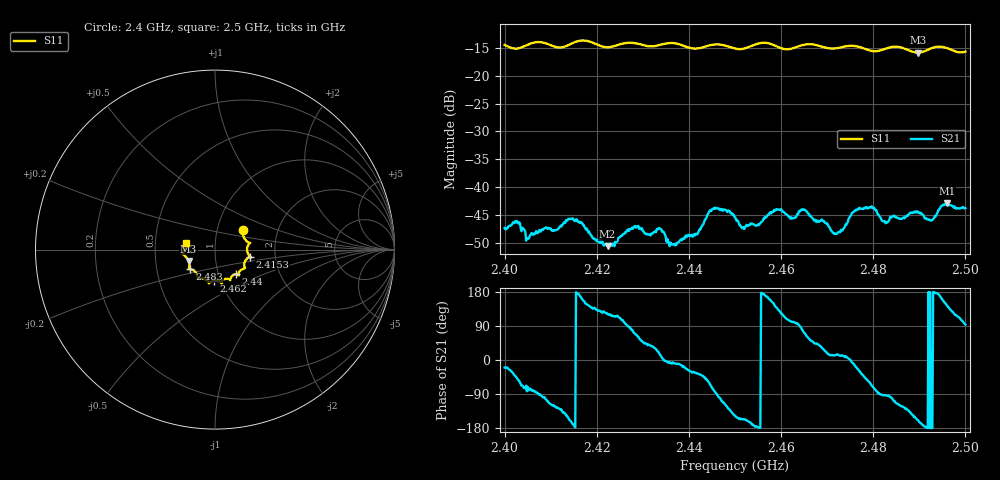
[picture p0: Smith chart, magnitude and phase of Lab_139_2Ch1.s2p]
# Hz S RI R 50
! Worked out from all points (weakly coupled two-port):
!   601 points, 2.4 GHz to 2.5 GHz, reference 50 ohm
!   highest |S21| = -42.88 dB at 2.496 GHz (marker M1); lowest = -50.6 dB at 2.4223 GHz (marker M2)
!   lowest |S11| = -15.9 dB at 2.4897 GHz (marker M3), VSWR 1.38, Z = 36.9 - j4.81 ohm
!   |S11| at or under -10 dB: start of sweep to end of sweep
!   S12 and S22 are empty: the file has one direction only
!   S11 on the Smith chart (normalised r, x): 2.4 GHz: 1.33, +0.29; 2.4153 GHz: 1.48, -0.12; 2.44 GHz: 1.21, -0.34; 2.462 GHz: 0.93, -0.33; 2.483 GHz: 0.74, -0.17; 2.5 GHz: 0.72, +0.06
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2.4e9  0.1552 0.1067  0.00405 -0.00146  0 0  0 0
2.402833e9  0.1638 0.0621  0.00305 -0.00366  0 0  0 0
2.405167e9  0.186 0.0395  0.000599 -0.0034  0 0  0 0
2.415333e9  0.1962 -0.0387  -0.00497 -0.000176  0 0  0 0
2.416667e9  0.202 -0.0427  -0.00462 0.00138  0 0  0 0
2.422333e9  0.166 -0.0684  -0.00153 0.00254  0 0  0 0
2.433333e9  0.131 -0.1335  0.00396 0.0016  0 0  0 0
2.436333e9  0.1326 -0.1445  0.00302 -0.000509  0 0  0 0
2.44e9  0.1143 -0.1367  0.00334 -0.0017  0 0  0 0
2.4455e9  0.0848 -0.1699  0.000931 -0.00648  0 0  0 0
2.45e9  0.0646 -0.1626  -0.00448 -0.00288  0 0  0 0
2.451833e9  0.0455 -0.168  -0.00403 -0.00176  0 0  0 0
2.462e9  -0.00514 -0.1733  -0.00117 0.00511  0 0  0 0
2.466667e9  -0.0343 -0.1878  0.00347 0.00408  0 0  0 0
2.471667e9  -0.0662 -0.1621  0.00377 0.000835  0 0  0 0
2.477e9  -0.0961 -0.1528  0.00571 -0.00324  0 0  0 0
2.483e9  -0.1376 -0.1095  -0.000349 -0.00481  0 0  0 0
2.483333e9  -0.1401 -0.1094  -0.000363 -0.00493  0 0  0 0
2.489667e9  -0.1474 -0.0635  -0.00565 -0.00219  0 0  0 0
2.4925e9  -0.1726 -0.0307  -0.00508 -2.43e-05  0 0  0 0
2.496e9  -0.1758 -0.015  -0.00582 0.0042  0 0  0 0
2.5e9  -0.1595 0.0392  -0.000382 0.00648  0 0  0 0
